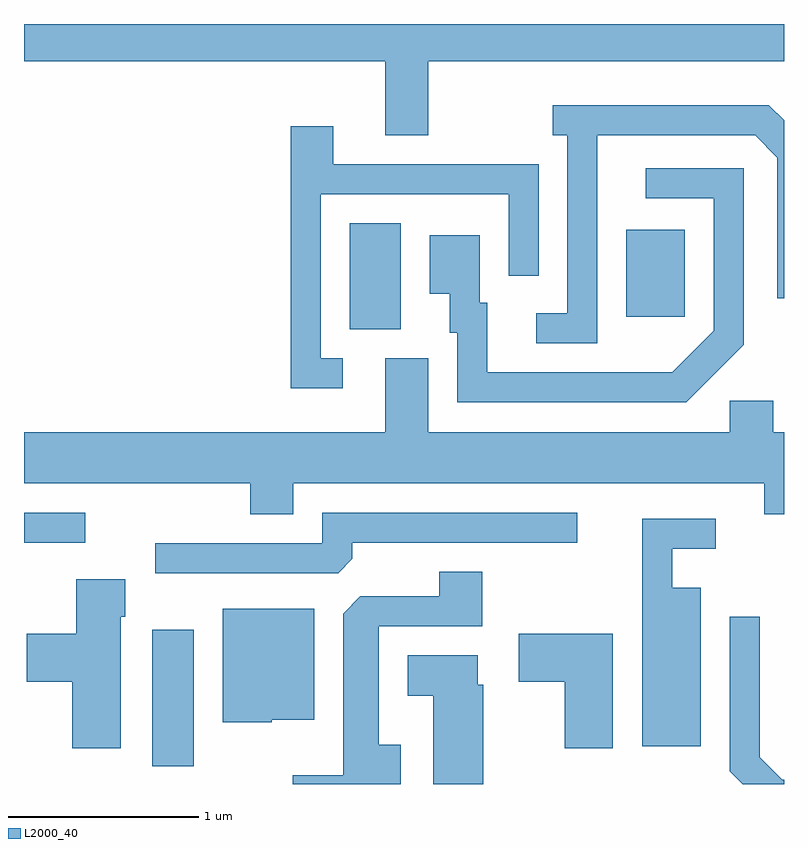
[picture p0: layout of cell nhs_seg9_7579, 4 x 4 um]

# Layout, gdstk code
import gdstk
lib = gdstk.Library(unit=1e-6, precision=1e-09)
def R(c, l, rs):  # rectangles x0, y0, x1, y1
    for r in rs: c.add(gdstk.rectangle(r[:2], r[2:], *l))
def P(c, l, *ps):  # polygons
    for p in ps: c.add(gdstk.Polygon(p, *l))
L2000_40 = (2000, 40)

nhs_seg9_7579 = lib.new_cell('nhs_seg9_7579')
R(nhs_seg9_7579, L2000_40, [(410.286,2012.526,410.504,2013.244), (409.611,2013.701,409.933,2013.859), (411.326,2014.826,411.594,2015.384), (412.781,2014.891,413.089,2015.349)])
P(nhs_seg9_7579, L2000_40, [(411.739,2016.236),(413.611,2016.236),(413.611,2016.432),(409.611,2016.432),(409.611,2016.236),(411.511,2016.236),(411.511,2015.846),(411.739,2015.846)],
  [(412.629,2015.846),(413.459,2015.846),(413.576,2015.729),(413.576,2014.988),(413.611,2014.988),(413.611,2015.925),(413.532,2016.004),(412.393,2016.004),(412.393,2015.846),(412.471,2015.846),(412.471,2014.909),(412.308,2014.909),(412.308,2014.751),(412.629,2014.751)],
  [(411.288,2014.674),(411.174,2014.674),(411.174,2015.536),(412.161,2015.536),(412.161,2015.108),(412.319,2015.108),(412.319,2015.694),(411.239,2015.694),(411.239,2015.894),(411.016,2015.894),(411.016,2014.516),(411.288,2014.516)],
  [(413.399,2014.744),(413.399,2015.674),(412.883,2015.674),(412.883,2015.516),(413.241,2015.516),(413.241,2014.817),(413.024,2014.599),(412.049,2014.599),(412.049,2014.964),(412.009,2014.964),(412.009,2015.319),(411.746,2015.319),(411.746,2015.011),(411.851,2015.011),(411.851,2014.806),(411.891,2014.806),(411.891,2014.441),(413.097,2014.441)],
  [(411.029,2014.016),(413.506,2014.016),(413.506,2013.851),(413.611,2013.851),(413.611,2014.284),(413.554,2014.284),(413.554,2014.449),(413.326,2014.449),(413.326,2014.284),(411.739,2014.284),(411.739,2014.674),(411.511,2014.674),(411.511,2014.284),(409.611,2014.284),(409.611,2014.016),(410.801,2014.016),(410.801,2013.851),(411.029,2013.851)],
  [(411.339,2013.617),(411.339,2013.701),(412.523,2013.701),(412.523,2013.859),(411.181,2013.859),(411.181,2013.699),(410.303,2013.699),(410.303,2013.541),(411.264,2013.541)],
  [(413.174,2013.464),(413.024,2013.464),(413.024,2013.671),(413.253,2013.671),(413.253,2013.829),(412.866,2013.829),(412.866,2012.631),(413.174,2012.631)],
  [(411.594,2012.639),(411.479,2012.639),(411.479,2013.261),(412.024,2013.261),(412.024,2013.549),(411.796,2013.549),(411.796,2013.419),(411.382,2013.419),(411.291,2013.329),(411.291,2012.479),(411.026,2012.479),(411.026,2012.432),(411.594,2012.432)],
  [(410.119,2013.311),(410.144,2013.311),(410.144,2013.509),(409.886,2013.509),(409.886,2013.224),(409.626,2013.224),(409.626,2012.971),(409.866,2012.971),(409.866,2012.621),(410.119,2012.621)],
  [(410.915,2012.771),(411.139,2012.771),(411.139,2013.354),(410.656,2013.354),(410.656,2012.756),(410.915,2012.756)],
  [(413.611,2012.454),(413.602,2012.454),(413.484,2012.572),(413.484,2013.313),(413.326,2013.313),(413.326,2012.499),(413.393,2012.432),(413.611,2012.432)],
  [(412.709,2013.224),(412.216,2013.224),(412.216,2012.971),(412.456,2012.971),(412.456,2012.621),(412.709,2012.621)],
  [(412.029,2012.954),(411.999,2012.954),(411.999,2013.109),(411.631,2013.109),(411.631,2012.896),(411.766,2012.896),(411.766,2012.432),(412.029,2012.432)])

lib.write_gds('nhs_seg9_7579.gds')
